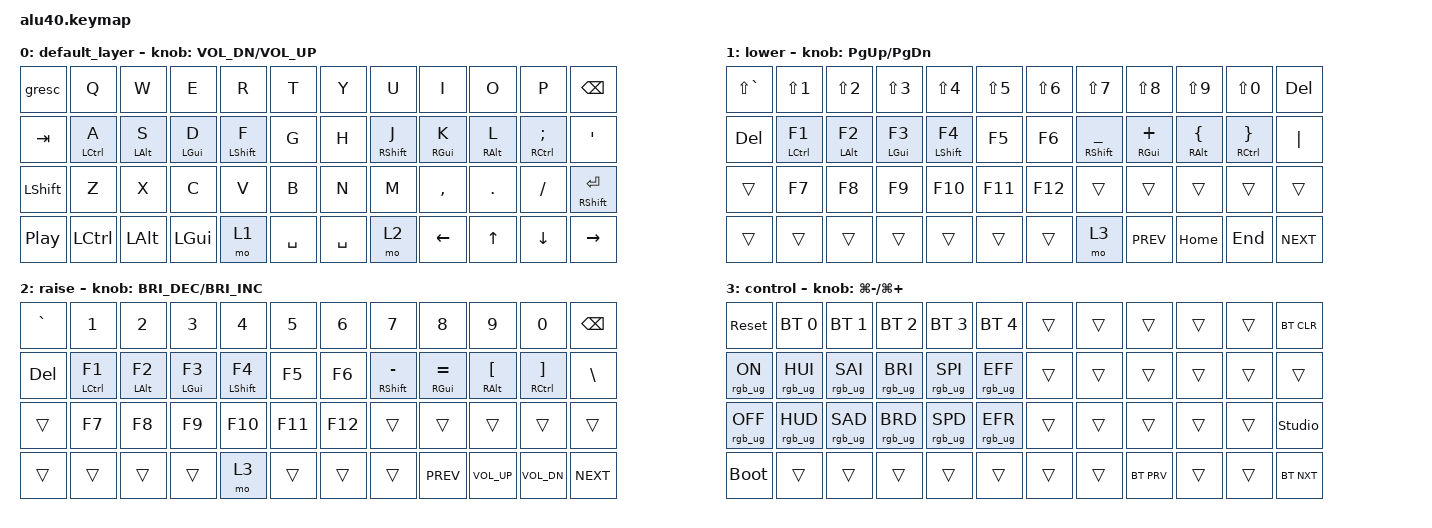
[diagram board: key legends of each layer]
/*
 * Copyright (c) 2022 The ZMK Contributors
 *
 * SPDX-License-Identifier: MIT
 */

#include <behaviors.dtsi>
#include <dt-bindings/zmk/keys.h>
#include <dt-bindings/zmk/bt.h>
#include <dt-bindings/zmk/rgb.h>

#define HRM_TAPPING_TERM_MS 280
#define HRM_QUICK_TAP_MS 175
#define HRM_REQUIRE_PRIOR_IDLE_MS 150

/ {
    behaviors {
        hml: homerow_mods_left {
            compatible = "zmk,behavior-hold-tap";
            display-name = "Home Row Mod Left";
            #binding-cells = <2>;
            flavor = "balanced";
            tapping-term-ms = <HRM_TAPPING_TERM_MS>;
            quick-tap-ms = <HRM_QUICK_TAP_MS>;
            require-prior-idle-ms = <HRM_REQUIRE_PRIOR_IDLE_MS>;
            bindings = <&kp>, <&kp>;
            hold-trigger-on-release;
        };

        hmr: homerow_mods_right {
            compatible = "zmk,behavior-hold-tap";
            display-name = "Home Row Mod Right";
            #binding-cells = <2>;
            flavor = "balanced";
            tapping-term-ms = <HRM_TAPPING_TERM_MS>;
            quick-tap-ms = <HRM_QUICK_TAP_MS>;
            require-prior-idle-ms = <HRM_REQUIRE_PRIOR_IDLE_MS>;
            bindings = <&kp>, <&kp>;
            hold-trigger-on-release;
        };
    };

    keymap {
        compatible = "zmk,keymap";

        default_layer {
            // -----------------------------------------------------------------------------------------
            // | ESC/~ |  Q   |  W   |  E   |  R   |  T   |   Y   |  U    |  I   |  O   |   P   | BSPC  |
            // | TAB   |  A   |  S   |  D   |  F   |  G   |   H   |  J    |  K   |  L   |   ;   |  '    |
            // | SHIFT |  Z   |  X   |  C   |  V   |  B   |   N   |  M    |  ,   |  .   |   /   |RET/SFT|
            // | PLAY  | LCTL | LALT | LGUI | LOWR |     SPACE    |  RAIS | LARW | UARW | DARW  |  RARW |

            bindings = <
                &gresc     &kp Q      &kp W     &kp E     &kp R  &kp T      &kp Y      &kp U  &kp I      &kp O    &kp P     &kp BSPC
                &kp TAB    &hml LCTRL A &hml LALT S &hml LGUI D &hml LSHFT F &kp G      &kp H      &hmr RSHFT J &hmr RGUI K &hmr RALT L &hmr RCTRL SEMI &kp SQT
                &kp LSHFT  &kp Z      &kp X     &kp C     &kp V  &kp B      &kp N      &kp M  &kp COMMA  &kp DOT  &kp FSLH  &mt RSHFT RET
                &kp C_PP   &kp LCTRL  &kp LALT  &kp LGUI  &mo 1  &kp SPACE  &kp SPACE  &mo 2  &kp LEFT   &kp UP   &kp DOWN  &kp RIGHT
            >;

            sensor-bindings = <&inc_dec_kp C_VOL_DN C_VOL_UP>;
        };

        lower {
            bindings = <
                &kp LS(GRAVE)  &kp LS(N1)  &kp LS(N2)  &kp LS(N3)  &kp LS(N4)  &kp LS(N5)  &kp LS(N6)  &kp LS(N7)  &kp LS(N8)  &kp LS(N9)  &kp LS(N0)  &kp DEL
                &kp DEL        &hml LCTRL F1 &hml LALT F2 &hml LGUI F3 &hml LSHFT F4 &kp F5      &kp F6      &hmr RSHFT UNDER &hmr RGUI PLUS &hmr RALT LBRC &hmr RCTRL RBRC &kp PIPE
                &trans         &kp F7      &kp F8      &kp F9      &kp F10     &kp F11     &kp F12     &trans      &trans      &trans      &trans      &trans
                &trans         &trans      &trans      &trans      &trans      &trans      &trans      &mo 3       &kp C_PREV  &kp HOME    &kp END     &kp C_NEXT
            >;

            sensor-bindings = <&inc_dec_kp PG_UP PG_DN>;
        };

        raise {
            bindings = <
                &kp GRAVE  &kp N1  &kp N2  &kp N3  &kp N4   &kp N5   &kp N6   &kp N7     &kp N8      &kp N9        &kp N0        &kp BSPC
                &kp DEL    &hml LCTRL F1 &hml LALT F2 &hml LGUI F3 &hml LSHFT F4 &kp F5   &kp F6   &hmr RSHFT MINUS  &hmr RGUI EQUAL   &hmr RALT LBKT      &hmr RCTRL RBKT      &kp BSLH
                &trans     &kp F7  &kp F8  &kp F9  &kp F10  &kp F11  &kp F12  &trans     &trans      &trans        &trans        &trans
                &trans     &trans  &trans  &trans  &mo 3    &trans   &trans   &trans     &kp C_PREV  &kp C_VOL_UP  &kp C_VOL_DN  &kp C_NEXT
            >;

            sensor-bindings = <&inc_dec_kp C_BRI_DEC C_BRI_INC>;
        };

        control {
            bindings = <
                &sys_reset       &bt BT_SEL 0     &bt BT_SEL 1     &bt BT_SEL 2     &bt BT_SEL 3     &bt BT_SEL 4     &trans  &trans  &trans      &trans  &trans  &bt BT_CLR
                &rgb_ug RGB_ON   &rgb_ug RGB_HUI  &rgb_ug RGB_SAI  &rgb_ug RGB_BRI  &rgb_ug RGB_SPI  &rgb_ug RGB_EFF  &trans  &trans  &trans      &trans  &trans  &trans
                &rgb_ug RGB_OFF  &rgb_ug RGB_HUD  &rgb_ug RGB_SAD  &rgb_ug RGB_BRD  &rgb_ug RGB_SPD  &rgb_ug RGB_EFR  &trans  &trans  &trans      &trans  &trans  &studio_unlock
                &bootloader      &trans           &trans           &trans           &trans           &trans           &trans  &trans  &bt BT_PRV  &trans  &trans  &bt BT_NXT
            >;

            sensor-bindings = <&inc_dec_kp LG(MINUS) LG(PLUS)>;
        };
        extra1 {
            status = "reserved";
        };
        extra2 {
            status = "reserved";
        };
        extra3 {
            status = "reserved";
        };
        extra4 {
            status = "reserved";
        };
    };
};
